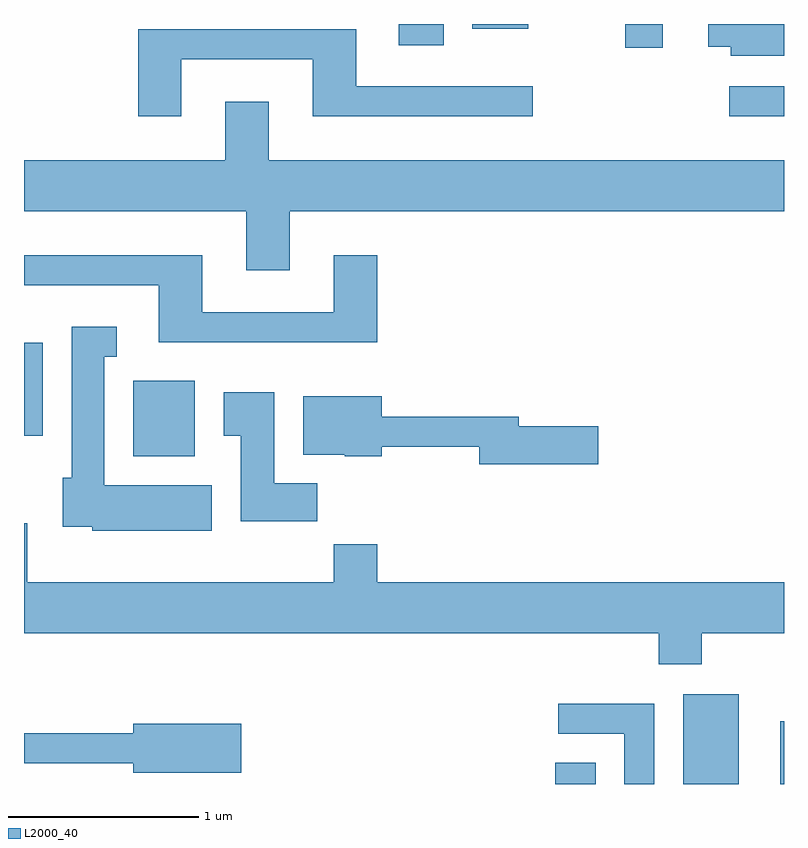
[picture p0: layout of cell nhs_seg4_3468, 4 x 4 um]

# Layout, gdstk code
import gdstk
lib = gdstk.Library(unit=1e-6, precision=1e-09)
def R(c, l, rs):  # rectangles x0, y0, x1, y1
    for r in rs: c.add(gdstk.rectangle(r[:2], r[2:], *l))
def P(c, l, *ps):  # polygons
    for p in ps: c.add(gdstk.Polygon(p, *l))
L2000_40 = (2000, 40)

nhs_seg4_3468 = lib.new_cell('nhs_seg4_3468')
R(nhs_seg4_3468, L2000_40, [(290.406,1253.982,290.619,1254.094), (291.081,1253.982,291.374,1254.454), (291.591,1253.982,291.611,1254.313), (288.186,1255.706,288.509,1256.104), (287.611,1255.816,287.709,1256.304), (291.323,1257.496,291.611,1257.654), (290.776,1257.856,290.974,1257.982), (289.583,1257.871,289.819,1257.982), (289.971,1257.956,290.264,1257.982)])
P(nhs_seg4_3468, L2000_40, [(291.611,1257.982),(291.211,1257.982),(291.211,1257.861),(291.331,1257.861),(291.331,1257.816),(291.611,1257.816)],
  [(288.439,1257.796),(289.131,1257.796),(289.131,1257.496),(290.288,1257.496),(290.288,1257.654),(289.359,1257.654),(289.359,1257.954),(288.211,1257.954),(288.211,1257.496),(288.439,1257.496)],
  [(289.009,1256.996),(291.611,1256.996),(291.611,1257.264),(288.899,1257.264),(288.899,1257.574),(288.671,1257.574),(288.671,1257.264),(287.611,1257.264),(287.611,1256.996),(288.781,1256.996),(288.781,1256.686),(289.009,1256.686)],
  [(289.469,1256.764),(289.241,1256.764),(289.241,1256.464),(288.549,1256.464),(288.549,1256.764),(287.611,1256.764),(287.611,1256.606),(288.321,1256.606),(288.321,1256.306),(289.469,1256.306)],
  [(288.599,1255.554),(288.034,1255.554),(288.034,1256.231),(288.098,1256.231),(288.098,1256.389),(287.861,1256.389),(287.861,1255.594),(287.816,1255.594),(287.816,1255.336),(287.971,1255.336),(287.971,1255.316),(288.599,1255.316)],
  [(289.154,1255.564),(288.929,1255.564),(288.929,1256.044),(288.661,1256.044),(288.661,1255.816),(288.751,1255.816),(288.751,1255.366),(289.154,1255.366)],
  [(290.634,1255.864),(290.214,1255.864),(290.214,1255.914),(289.494,1255.914),(289.494,1256.024),(289.081,1256.024),(289.081,1255.716),(289.3,1255.716),(289.3,1255.706),(289.494,1255.706),(289.494,1255.756),(290.006,1255.756),(290.006,1255.666),(290.634,1255.666)],
  [(291.179,1254.776),(291.611,1254.776),(291.611,1255.044),(289.469,1255.044),(289.469,1255.244),(289.241,1255.244),(289.241,1255.044),(287.629,1255.044),(287.629,1255.354),(287.611,1255.354),(287.611,1254.776),(290.951,1254.776),(290.951,1254.611),(291.179,1254.611)],
  [(290.929,1254.404),(290.423,1254.404),(290.423,1254.246),(290.771,1254.246),(290.771,1253.982),(290.929,1253.982)],
  [(288.754,1254.299),(288.186,1254.299),(288.186,1254.249),(287.611,1254.249),(287.611,1254.091),(288.186,1254.091),(288.186,1254.041),(288.754,1254.041)])

lib.write_gds('nhs_seg4_3468.gds')
